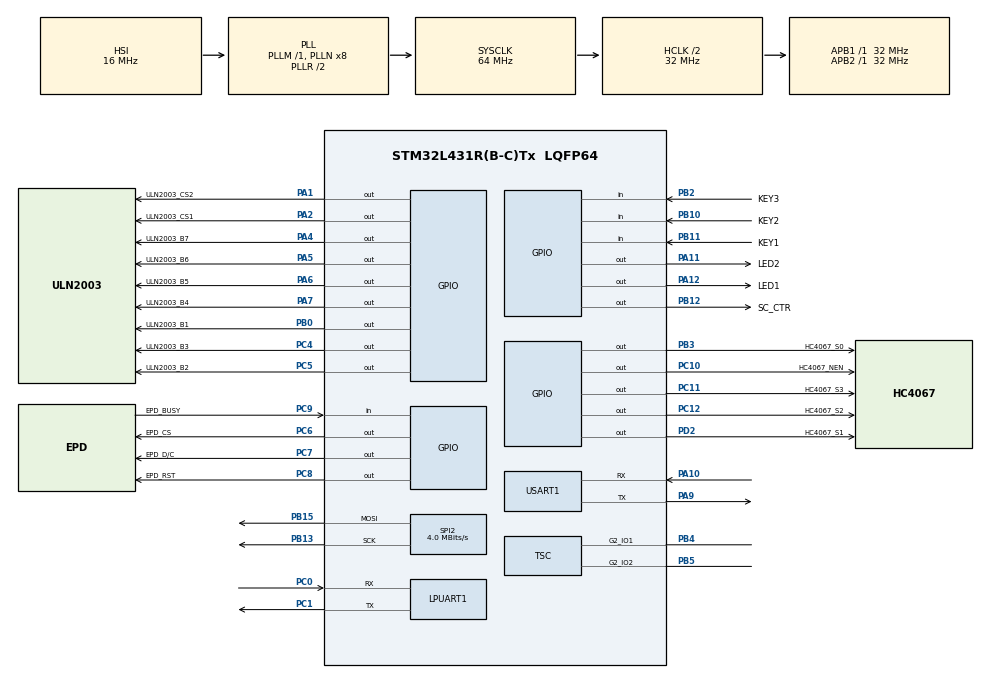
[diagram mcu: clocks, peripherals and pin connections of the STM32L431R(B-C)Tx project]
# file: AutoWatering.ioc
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Dma.Request0=SPI2_TX
Dma.Request1=USART1_TX
Dma.Request2=USART1_RX
Dma.SPI2_TX.0.Direction=DMA_MEMORY_TO_PERIPH
Dma.SPI2_TX.0.Instance=DMA1_Channel5
Dma.SPI2_TX.0.MemDataAlignment=DMA_MDATAALIGN_BYTE
Dma.SPI2_TX.0.MemInc=DMA_MINC_ENABLE
Dma.SPI2_TX.0.Mode=DMA_NORMAL
Dma.SPI2_TX.0.PeriphDataAlignment=DMA_PDATAALIGN_BYTE
Dma.SPI2_TX.0.PeriphInc=DMA_PINC_DISABLE
Dma.SPI2_TX.0.Priority=DMA_PRIORITY_LOW
Dma.USART1_RX.2.Direction=DMA_PERIPH_TO_MEMORY
Dma.USART1_RX.2.Instance=DMA2_Channel7
Dma.USART1_RX.2.MemDataAlignment=DMA_MDATAALIGN_BYTE
Dma.USART1_RX.2.MemInc=DMA_MINC_ENABLE
Dma.USART1_RX.2.Mode=DMA_NORMAL
Dma.USART1_RX.2.PeriphDataAlignment=DMA_PDATAALIGN_BYTE
Dma.USART1_RX.2.PeriphInc=DMA_PINC_DISABLE
Dma.USART1_RX.2.Priority=DMA_PRIORITY_LOW
Dma.USART1_TX.1.Direction=DMA_MEMORY_TO_PERIPH
Dma.USART1_TX.1.Instance=DMA1_Channel4
Dma.USART1_TX.1.MemDataAlignment=DMA_MDATAALIGN_BYTE
Dma.USART1_TX.1.MemInc=DMA_MINC_ENABLE
Dma.USART1_TX.1.Mode=DMA_NORMAL
Dma.USART1_TX.1.PeriphDataAlignment=DMA_PDATAALIGN_BYTE
Dma.USART1_TX.1.PeriphInc=DMA_PINC_DISABLE
Dma.USART1_TX.1.Priority=DMA_PRIORITY_LOW
Mcu.Family=STM32L4
Mcu.Name=STM32L431R(B-C)Tx
Mcu.Package=LQFP64
NVIC.DMA1_Channel4_IRQn=true\:0\:0\:false\:false\:true\:false\:true\:true
NVIC.DMA1_Channel5_IRQn=true\:0\:0\:false\:false\:true\:false\:true\:true
NVIC.DMA2_Channel7_IRQn=true\:0\:0\:false\:false\:true\:false\:true\:true
NVIC.PriorityGroup=NVIC_PRIORITYGROUP_4
NVIC.RTC_Alarm_IRQn=true\:0\:0\:false\:false\:true\:true\:true\:true
NVIC.RTC_WKUP_IRQn=true\:0\:0\:false\:false\:true\:true\:true\:true
NVIC.TIM6_DAC_IRQn=true\:0\:0\:false\:false\:true\:true\:true\:true
NVIC.TSC_IRQn=true\:0\:0\:false\:false\:true\:true\:true\:true
NVIC.USART1_IRQn=true\:0\:0\:false\:false\:true\:true\:true\:true
PA1.GPIO_Label=ULN2003_CS2
PA1.Signal=GPIO_Output
PA10.Mode=Asynchronous
PA10.Signal=USART1_RX
PA11.GPIO_Label=LED2
PA11.GPIO_PuPd=GPIO_PULLUP
PA11.PinState=GPIO_PIN_SET
PA11.Signal=GPIO_Output
PA12.GPIO_Label=LED1
PA12.Signal=GPIO_Output
PA13\ (JTMS-SWDIO).Mode=Serial_Wire
PA13\ (JTMS-SWDIO).Signal=SYS_JTMS-SWDIO
PA14\ (JTCK-SWCLK).Mode=Serial_Wire
PA14\ (JTCK-SWCLK).Signal=SYS_JTCK-SWCLK
PA2.GPIO_Label=ULN2003_CS1
PA2.Signal=GPIO_Output
PA4.GPIO_Label=ULN2003_B7
PA4.Signal=GPIO_Output
PA5.GPIO_Label=ULN2003_B6
PA5.Signal=GPIO_Output
PA6.GPIO_Label=ULN2003_B5
PA6.Signal=GPIO_Output
PA7.GPIO_Label=ULN2003_B4
PA7.Signal=GPIO_Output
PA9.Mode=Asynchronous
PA9.Signal=USART1_TX
PB0.GPIO_Label=ULN2003_B1
PB0.Signal=GPIO_Output
PB10.GPIO_Label=KEY2
PB10.Signal=GPIO_Input
PB11.GPIO_Label=KEY1
PB11.Signal=GPIO_Input
PB12.GPIO_Label=SC_CTR
PB12.Signal=GPIO_Output
PB13.Mode=TX_Only_Simplex_Unidirect_Master
PB13.Signal=SPI2_SCK
PB15.Mode=TX_Only_Simplex_Unidirect_Master
PB15.Signal=SPI2_MOSI
PB2.GPIO_Label=KEY3
PB2.Signal=GPIO_Input
PB3\ (JTDO-TRACESWO).GPIO_Label=HC4067_S0
PB3\ (JTDO-TRACESWO).GPIO_Speed=GPIO_SPEED_FREQ_HIGH
PB3\ (JTDO-TRACESWO).Signal=GPIO_Output
PB4\ (NJTRST).Mode=G2_IO1-Sampling
PB4\ (NJTRST).Signal=TSC_G2_IO1
PB5.Mode=G2_IO2-Channel
PB5.Signal=TSC_G2_IO2
PC0.Mode=Multiprocessor_communication
PC0.Signal=LPUART1_RX
PC1.Mode=Multiprocessor_communication
PC1.Signal=LPUART1_TX
PC10.GPIO_Label=HC4067_NEN
PC10.GPIO_Speed=GPIO_SPEED_FREQ_HIGH
PC10.PinState=GPIO_PIN_RESET
PC10.Signal=GPIO_Output
PC11.GPIO_Label=HC4067_S3
PC11.GPIO_Speed=GPIO_SPEED_FREQ_HIGH
PC11.Signal=GPIO_Output
PC12.GPIO_Label=HC4067_S2
PC12.GPIO_Speed=GPIO_SPEED_FREQ_HIGH
PC12.Signal=GPIO_Output
PC13.Mode=SYS_WakeUp1
PC13.Signal=SYS_WKUP2
PC14-OSC32_IN\ (PC14).Mode=LSE-External-Oscillator
PC14-OSC32_IN\ (PC14).Signal=RCC_OSC32_IN
PC15-OSC32_OUT\ (PC15).Mode=LSE-External-Oscillator
PC15-OSC32_OUT\ (PC15).Signal=RCC_OSC32_OUT
PC4.GPIO_Label=ULN2003_B3
PC4.Signal=GPIO_Output
PC5.GPIO_Label=ULN2003_B2
PC5.Signal=GPIO_Output
PC6.GPIO_Label=EPD_CS
PC6.GPIO_Speed=GPIO_SPEED_FREQ_HIGH
PC6.PinState=GPIO_PIN_SET
PC6.Signal=GPIO_Output
PC7.GPIO_Label=EPD_D/C
PC7.Signal=GPIO_Output
PC8.GPIO_Label=EPD_RST
PC8.Signal=GPIO_Output
PC9.GPIO_Label=EPD_BUSY
PC9.Signal=GPIO_Input
PD2.GPIO_Label=HC4067_S1
PD2.GPIO_Speed=GPIO_SPEED_FREQ_HIGH
PD2.Signal=GPIO_Output
ProjectManager.HeapSize=0x200
ProjectManager.StackSize=0x400
ProjectManager.TargetToolchain=STM32CubeIDE
RCC.ADCFreq_Value=64000000
RCC.AHBCLKDivider=RCC_SYSCLK_DIV2
RCC.AHBFreq_Value=32000000
RCC.APB1Freq_Value=32000000
RCC.APB1TimFreq_Value=32000000
RCC.APB2Freq_Value=32000000
RCC.APB2TimFreq_Value=32000000
RCC.CortexFreq_Value=32000000
RCC.HCLKFreq_Value=32000000
RCC.HSE_VALUE=8000000
RCC.HSI48_VALUE=48000000
RCC.HSI_VALUE=16000000
RCC.MSI_VALUE=4000000
RCC.PLLSourceVirtual=RCC_PLLSOURCE_HSI
RCC.RTCClockSelection=RCC_RTCCLKSOURCE_LSE
RCC.SYSCLKFreq_VALUE=64000000
RCC.SYSCLKSource=RCC_SYSCLKSOURCE_PLLCLK
RCC.VCOOutputFreq_Value=128000000
RTC.Alarm-Alarm\ A=RTC_ALARM_A
RTC.AlarmMaskDateWeekDay-Alarm\ A=RTC_ALARMMASK_DATEWEEKDAY
RTC.AlarmMaskHours-Alarm\ A=RTC_ALARMMASK_HOURS
RTC.AlarmMaskMinutes-Alarm\ A=RTC_ALARMMASK_MINUTES
RTC.AsynchPrediv=127
RTC.Date=25
RTC.HourFormat=RTC_HOURFORMAT_24
RTC.Hours=3
RTC.Hours_A-Alarm\ A=3
RTC.Minutes=0
RTC.Minutes_A-Alarm\ A=1
RTC.Month=RTC_MONTH_NOVEMBER
RTC.WakeUpClock-WakeUp=RTC_WAKEUPCLOCK_CK_SPRE_16BITS
RTC.WeekDay=RTC_WEEKDAY_TUESDAY
RTC.Year=25
SPI2.BaudRatePrescaler=SPI_BAUDRATEPRESCALER_8
SPI2.CalculateBaudRate=4.0 MBits/s
SPI2.DataSize=SPI_DATASIZE_8BIT
SPI2.Direction=SPI_DIRECTION_2LINES
SPI2.Mode=SPI_MODE_MASTER
SPI2.VirtualType=VM_MASTER
TIM1.AutoReloadPreload=TIM_AUTORELOAD_PRELOAD_ENABLE
TIM1.Period=999
TIM1.Prescaler=31
TIM6.AutoReloadPreload=TIM_AUTORELOAD_PRELOAD_ENABLE
TIM6.Period=99
TIM6.Prescaler=31
TIM6.TIM_MasterOutputTrigger=TIM_TRGO_RESET
TIM7.Prescaler=31
TSC.CTPulseHighLength=TSC_CTPH_8CYCLES
TSC.CTPulseLowLength=TSC_CTPL_8CYCLES
TSC.ChannelIOs-G2_IO2=TSC_GROUP2_IO2
TSC.IODefaultMode=TSC_IODEF_OUT_PP_LOW
TSC.MaxCountValue=TSC_MCV_255
TSC.SamplingIOs-G2_IO1=TSC_GROUP2_IO1
USART1.VirtualMode-Asynchronous=VM_ASYNC
VP_RTC_VS_RTC_Activate.Mode=RTC_Enabled
VP_RTC_VS_RTC_Alarm_A_Intern.Mode=Alarm A
VP_RTC_VS_RTC_Calendar.Mode=RTC_Calendar
VP_RTC_VS_RTC_WakeUp_intern.Mode=WakeUp
VP_TIM1_VS_ClockSourceINT.Mode=Internal
VP_TIM6_VS_ClockSourceINT.Mode=Enable_Timer
VP_TIM7_VS_ClockSourceINT.Mode=Enable_Timer
board=custom

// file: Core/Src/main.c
/* USER CODE BEGIN Header */
/**
  ******************************************************************************
  * @file           : main.c
  * @brief          : Main program body
  ******************************************************************************
  * @attention
  *
  * Copyright (c) 2025 STMicroelectronics.
  * All rights reserved.
  *
  * This software is licensed under terms that can be found in the LICENSE file
  * in the root directory of this software component.
  * If no LICENSE file comes with this software, it is provided AS-IS.
  *
  ******************************************************************************
  */
/* USER CODE END Header */
#include "main.h"
#include "dma.h"
#include "usart.h"
#include "rtc.h"
#include "spi.h"
#include "tim.h"
#include "tsc.h"
#include "gpio.h"

/* USER CODE BEGIN Includes */
#include "stdio.h"
#include "Common.h"
#include "hw_gpio.h"
#include "hw_Tim.h"

#include "hw_Uart.h"
//#include "hw_EPD.h"
#include "hw_EPD.h"
#include "hw_tsc.h"
#include "abs_usart.h"
#include "hw_Rtc.h"
/* USER CODE END Includes */

/* USER CODE BEGIN PTD */
#define	TXBUFF_SIZE	12
uint8_t g_Uart1_Txbuff[TXBUFF_SIZE] = {"HELLO WORLD"};
uint8_t g_Uart1_Txbuff2[TXBUFF_SIZE] = {"transbuff1\r\n"};
uint8_t g_Uart1_Txbuff3[TXBUFF_SIZE] = {"transbuff2\r\n"};
/* USER CODE END PTD */

/* USER CODE BEGIN PV */

static uint32_t g_MainTimes;
/* USER CODE END PV */

void SystemClock_Config(void);

/* USER CODE BEGIN 0 */
uint8_t run_state = 0;
/* USER CODE END 0 */

int main(void)
{

  /* MCU Configuration--------------------------------------------------------*/

  /* Reset of all peripherals, Initializes the Flash interface and the Systick. */
  HAL_Init();

  /* Configure the system clock */
  SystemClock_Config();

  /* Initialize all configured peripherals */
  MX_GPIO_Init();
  MX_DMA_Init();
  MX_LPUART1_UART_Init();
  MX_USART1_UART_Init();
  MX_SPI2_Init();
  MX_TSC_Init();
  MX_TIM1_Init();
  MX_TIM6_Init();
  MX_TIM7_Init();
  MX_RTC_Init();
  /* USER CODE BEGIN 2 */
  HAL_TIM_Base_Start_IT(&htim1);
  HAL_TIM_Base_Start_IT(&htim6);
  HAL_GPIO_WritePin(LED1_GPIO_Port,LED1_Pin,RESET);
  HAL_GPIO_WritePin(LED2_GPIO_Port,LED2_Pin,RESET);
  HAL_GPIO_WritePin(EPD_CS_GPIO_Port,EPD_CS_Pin,SET);
  //HAL_GPIO_WritePin(EPD_CS_GPIO_Port,EPD_CS_Pin,SET);
  HAL_GPIO_WritePin(SC_CTR_GPIO_Port,SC_CTR_Pin,RESET);//低打开屏幕电源
  __HAL_UART_ENABLE_IT(&huart1,UART_IT_IDLE);//开启串口空闲中断
  HAL_UART_Receive_DMA(&huart1, uart_rx_buff, sizeof(uart_rx_buff));//开启DMA接收
  printf("Hello\r\n");
  HAL_Delay(3000);
 //EPD_2IN13_Test();
  //hw_EPD_Init();
  //hw_EPD_Default_Shou();
  hw_tsc_init();
  g_EPD_flag = TRUE;
  //hw_tsc_test();
  printf("start while 1\r\n");
 // hw_screen_test();

  /* USER CODE END 2 */

  /* Infinite loop */
  while (1)
  {

    /* USER CODE BEGIN 3 */

	g_MainTimes = (HAL_GetTick() + MAIN_TASK_INTERVAL);
	// HAL_GPIO_TogglePin(LED1_GPIO_Port,LED1_Pin);
	abs_usart_poll();
	hw_tsc_scan();
	//hw_RtcTest();
	//hw_EPD_poll();
	printf("One Cycle\r\n");
	while(hw_TimerAfter(g_MainTimes,HAL_GetTick()));
  }
  /* USER CODE END 3 */
}

void SystemClock_Config(void)
{
  RCC_OscInitTypeDef RCC_OscInitStruct = {0};
  RCC_ClkInitTypeDef RCC_ClkInitStruct = {0};

  /** Configure the main internal regulator output voltage
  */
  if (HAL_PWREx_ControlVoltageScaling(PWR_REGULATOR_VOLTAGE_SCALE1) != HAL_OK)
  {
    Error_Handler();
  }

  /** Configure LSE Drive Capability
  */
  HAL_PWR_EnableBkUpAccess();
  __HAL_RCC_LSEDRIVE_CONFIG(RCC_LSEDRIVE_LOW);

  /** Initializes the RCC Oscillators according to the specified parameters
  * in the RCC_OscInitTypeDef structure.
  */
  RCC_OscInitStruct.OscillatorType = RCC_OSCILLATORTYPE_HSI|RCC_OSCILLATORTYPE_LSE;
  RCC_OscInitStruct.LSEState = RCC_LSE_ON;
  RCC_OscInitStruct.HSIState = RCC_HSI_ON;
  RCC_OscInitStruct.HSICalibrationValue = RCC_HSICALIBRATION_DEFAULT;
  RCC_OscInitStruct.PLL.PLLState = RCC_PLL_ON;
  RCC_OscInitStruct.PLL.PLLSource = RCC_PLLSOURCE_HSI;
  RCC_OscInitStruct.PLL.PLLM = 1;
  RCC_OscInitStruct.PLL.PLLN = 8;
  RCC_OscInitStruct.PLL.PLLP = RCC_PLLP_DIV7;
  RCC_OscInitStruct.PLL.PLLQ = RCC_PLLQ_DIV2;
  RCC_OscInitStruct.PLL.PLLR = RCC_PLLR_DIV2;
  if (HAL_RCC_OscConfig(&RCC_OscInitStruct) != HAL_OK)
  {
    Error_Handler();
  }

  /** Initializes the CPU, AHB and APB buses clocks
  */
  RCC_ClkInitStruct.ClockType = RCC_CLOCKTYPE_HCLK|RCC_CLOCKTYPE_SYSCLK
                              |RCC_CLOCKTYPE_PCLK1|RCC_CLOCKTYPE_PCLK2;
  RCC_ClkInitStruct.SYSCLKSource = RCC_SYSCLKSOURCE_PLLCLK;
  RCC_ClkInitStruct.AHBCLKDivider = RCC_SYSCLK_DIV2;
  RCC_ClkInitStruct.APB1CLKDivider = RCC_HCLK_DIV1;
  RCC_ClkInitStruct.APB2CLKDivider = RCC_HCLK_DIV1;

  if (HAL_RCC_ClockConfig(&RCC_ClkInitStruct, FLASH_LATENCY_1) != HAL_OK)
  {
    Error_Handler();
  }
}

void Error_Handler(void)
{
  __disable_irq();
  while (1)
  {
  }
}
